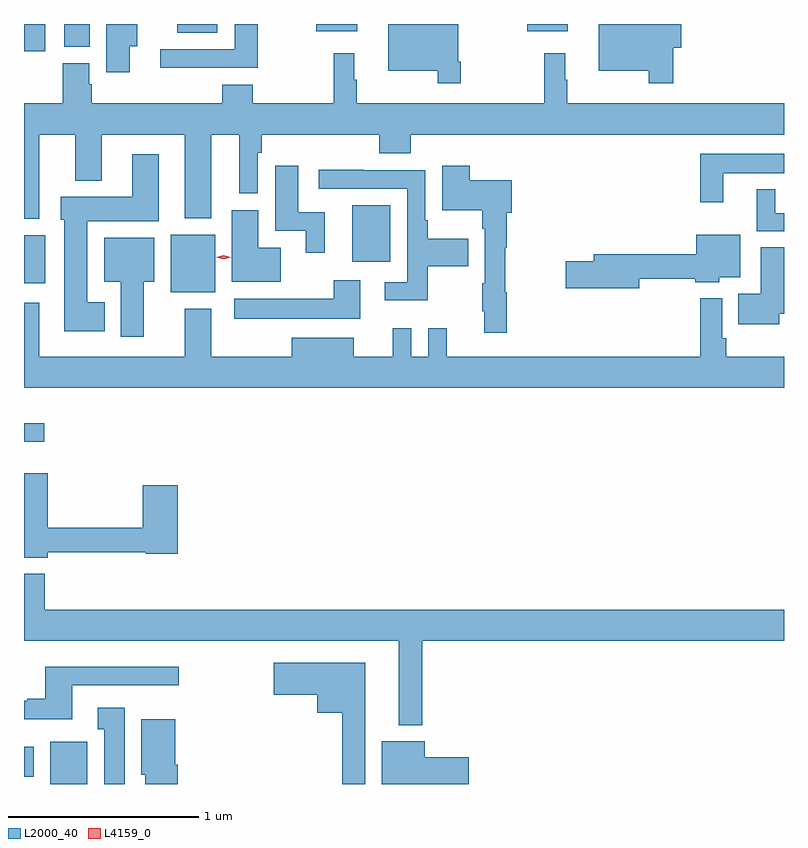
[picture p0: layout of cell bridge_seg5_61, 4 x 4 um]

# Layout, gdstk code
import gdstk
lib = gdstk.Library(unit=1e-6, precision=1e-09)
def R(c, l, rs):  # rectangles x0, y0, x1, y1
    for r in rs: c.add(gdstk.rectangle(r[:2], r[2:], *l))
def P(c, l, *ps):  # polygons
    for p in ps: c.add(gdstk.Polygon(p, *l))
L2000_40 = (2000, 40)
L4159_0 = (4159, 0)

bridge_seg5_61 = lib.new_cell('bridge_seg5_61')
R(bridge_seg5_61, L2000_40, [(705.413,836.026,705.61,836.248), (705.276,836.065,705.328,836.221), (705.276,837.828,705.382,837.924), (706.049,838.613,706.282,838.918), (705.276,838.661,705.388,838.915), (707.003,838.775,707.203,839.071), (705.276,839.883,705.388,840.026), (705.488,839.905,705.622,840.026), (706.082,839.981,706.294,840.026), (706.814,839.987,707.029,840.026), (707.924,839.987,708.139,840.026)])
P(bridge_seg5_61, L2000_40, [(705.832,839.909),(705.871,839.909),(705.871,840.026),(705.71,840.026),(705.71,839.772),(705.832,839.772)],
  [(707.575,839.827),(707.562,839.827),(707.562,840.026),(707.192,840.026),(707.192,839.78),(707.454,839.78),(707.454,839.715),(707.575,839.715)],
  [(708.692,839.902),(708.736,839.902),(708.736,840.026),(708.302,840.026),(708.302,839.78),(708.564,839.78),(708.564,839.715),(708.692,839.715)],
  [(706.506,840.026),(706.385,840.026),(706.385,839.892),(705.993,839.892),(705.993,839.795),(706.506,839.795)],
  [(705.355,839.444),(705.545,839.444),(705.545,839.201),(705.685,839.201),(705.685,839.444),(706.121,839.444),(706.121,839.003),(706.261,839.003),(706.261,839.444),(706.409,839.444),(706.409,839.136),(706.506,839.136),(706.506,839.348),(706.526,839.348),(706.526,839.444),(707.147,839.444),(707.147,839.345),(707.312,839.345),(707.312,839.444),(709.276,839.444),(709.276,839.608),(708.136,839.608),(708.136,839.732),(708.124,839.732),(708.124,839.872),(708.015,839.872),(708.015,839.608),(707.026,839.608),(707.026,839.732),(707.014,839.732),(707.014,839.872),(706.905,839.872),(706.905,839.608),(706.479,839.608),(706.479,839.707),(706.319,839.707),(706.319,839.608),(705.632,839.608),(705.632,839.709),(705.619,839.709),(705.619,839.82),(705.479,839.82),(705.479,839.608),(705.276,839.608),(705.276,839),(705.355,839)],
  [(708.955,839.24),(709.276,839.24),(709.276,839.344),(708.834,839.344),(708.834,839.088),(708.955,839.088)],
  [(705.7,838.561),(705.61,838.561),(705.61,838.988),(705.985,838.988),(705.985,839.341),(705.845,839.341),(705.845,839.116),(705.47,839.116),(705.47,838.995),(705.488,838.995),(705.488,838.409),(705.7,838.409)],
  [(707.816,838.613),(707.809,838.613),(707.809,838.849),(707.816,838.849),(707.816,839.033),(707.843,839.033),(707.843,839.203),(707.621,839.203),(707.621,839.281),(707.477,839.281),(707.477,839.045),(707.688,839.045),(707.688,838.949),(707.7,838.949),(707.7,838.661),(707.688,838.661),(707.688,838.513),(707.699,838.513),(707.699,838.401),(707.816,838.401)],
  [(706.858,839.034),(706.72,839.034),(706.72,839.281),(706.598,839.281),(706.598,838.938),(706.76,838.938),(706.76,838.821),(706.858,838.821)],
  [(707.401,838.75),(707.615,838.75),(707.615,838.897),(707.401,838.897),(707.401,838.993),(707.388,838.993),(707.388,839.256),(707.063,839.256),(707.063,839.258),(706.827,839.258),(706.827,839.16),(707.292,839.16),(707.292,838.668),(707.175,838.668),(707.175,838.571),(707.401,838.571)],
  [(709.276,839.031),(709.231,839.031),(709.231,839.155),(709.133,839.155),(709.133,838.935),(709.276,838.935)],
  [(706.627,838.849),(706.51,838.849),(706.51,839.047),(706.37,839.047),(706.37,838.67),(706.627,838.67)],
  [(708.514,838.686),(708.808,838.686),(708.808,838.667),(708.936,838.667),(708.936,838.694),(709.045,838.694),(709.045,838.918),(708.815,838.918),(708.815,838.814),(708.275,838.814),(708.275,838.778),(708.126,838.778),(708.126,838.636),(708.514,838.636)],
  [(705.907,838.67),(705.961,838.67),(705.961,838.9),(705.698,838.9),(705.698,838.67),(705.785,838.67),(705.785,838.38),(705.907,838.38)],
  [(709.252,838.502),(709.276,838.502),(709.276,838.85),(709.154,838.85),(709.154,838.606),(709.036,838.606),(709.036,838.445),(709.252,838.445)],
  [(707.047,838.678),(706.907,838.678),(706.907,838.579),(706.383,838.579),(706.383,838.475),(707.047,838.475)],
  [(709.276,838.276),(708.971,838.276),(708.971,838.372),(708.951,838.372),(708.951,838.582),(708.835,838.582),(708.835,838.276),(707.501,838.276),(707.501,838.426),(707.403,838.426),(707.403,838.276),(707.313,838.276),(707.313,838.426),(707.216,838.426),(707.216,838.276),(707.011,838.276),(707.011,838.375),(706.685,838.375),(706.685,838.276),(706.261,838.276),(706.261,838.528),(706.121,838.528),(706.121,838.276),(705.355,838.276),(705.355,838.558),(705.276,838.558),(705.276,838.112),(709.276,838.112)],
  [(705.401,837.246),(705.918,837.246),(705.918,837.238),(706.085,837.238),(706.085,837.598),(705.902,837.598),(705.902,837.374),(705.401,837.374),(705.401,837.661),(705.276,837.661),(705.276,837.218),(705.401,837.218)],
  [(707.371,836.78),(709.276,836.78),(709.276,836.944),(705.386,836.944),(705.386,837.133),(705.276,837.133),(705.276,836.78),(707.249,836.78),(707.249,836.336),(707.371,836.336)],
  [(707.071,836.665),(706.59,836.665),(706.59,836.495),(706.82,836.495),(706.82,836.402),(706.95,836.402),(706.95,836.026),(707.071,836.026)],
  [(705.529,836.547),(706.09,836.547),(706.09,836.644),(705.389,836.644),(705.389,836.476),(705.293,836.476),(705.293,836.463),(705.276,836.463),(705.276,836.366),(705.529,836.366)],
  [(705.805,836.428),(705.665,836.428),(705.665,836.315),(705.698,836.315),(705.698,836.026),(705.805,836.026)],
  [(706.085,836.128),(706.072,836.128),(706.072,836.368),(705.893,836.368),(705.893,836.076),(705.914,836.076),(705.914,836.026),(706.085,836.026)],
  [(707.617,836.168),(707.386,836.168),(707.386,836.251),(707.159,836.251),(707.159,836.026),(707.617,836.026)])
P(bridge_seg5_61, L4159_0, [(706.326,838.788),(706.288,838.798),(706.288,838.798),(706.288,838.798),(706.326,838.808),(706.365,838.798),(706.365,838.798),(706.365,838.798)])

lib.write_gds('bridge_seg5_61.gds')
